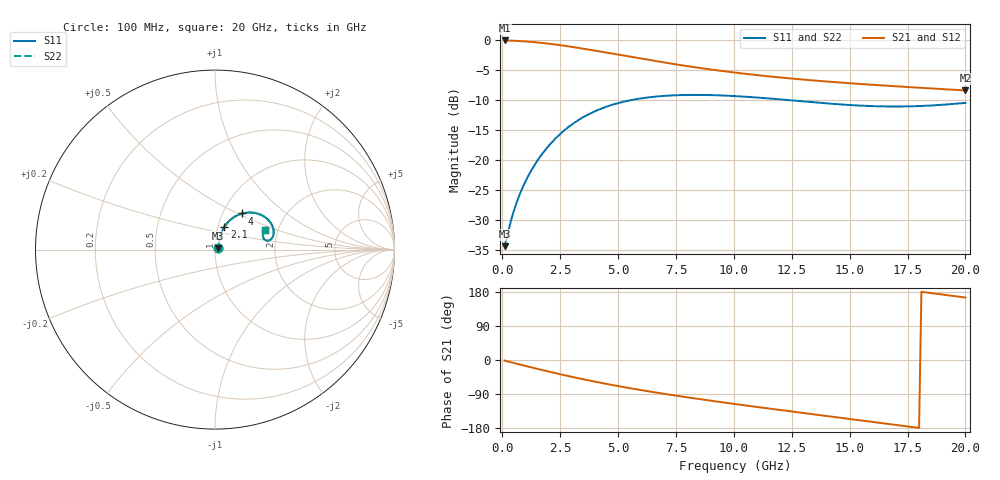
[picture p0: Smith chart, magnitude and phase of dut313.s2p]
! Touchstone file exported from HFSS 2024.1.0
!  File:  C:/UserFiles/LocalFiles/RDL_TSV_Batchsim/temp_RDL_TSV_313_1779627819.aedt
!  Generated:  09:19:21 PM May 24, 2026
!  Design:  RDL_TSV
!  Project:  temp_RDL_TSV_313_1779627819
!  Setup:  Setup1
!  Solution:  Sweep
! Variables:
!  dtsv = 6.16um
!  hbump = 3um
!  htsv = 68.67um
!  ldown = 589.07um
!  lrdl = 286.14um
!  p = 40
!  p1 = 47.07um
!  rhole = 10um
!  subl = 2911.77um
!  t = 450um
!  tdown = 4.51um
!  trdl = 2.69um
!  viad = 10um
!  wdown = 13.75um
!  wrdl = 24.38um
!  xbump = 18um
# GHz S MA R 50.000000
! Terminal data exported
! Port[1] = TM1_1_T1
! Port[2] = TM1_4_T1
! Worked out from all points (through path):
!   200 points, 100 MHz to 20 GHz, reference 50 ohm
!   highest |S21| = -0.16 dB at 100 MHz (marker M1); lowest = -8.5 dB at 20 GHz (marker M2)
!   group delay of S21, straight-line fit = 25.5 ps
!   lowest |S11| = -34.4 dB at 100 MHz (marker M3), VSWR 1.04, Z = 51.8 + j0.692 ohm
!   |S11| at or under -10 dB: start of sweep to 5.691 GHz; 12.1 GHz to end of sweep
!   |S22| runs from -34.4 to -9.2 dB; largest |S21 - S12| = 1e-14
!   S11 on the Smith chart (normalised r, x): 100 MHz: 1.04, +0.01; 2.1 GHz: 1.07, +0.28; 4 GHz: 1.23, +0.53; 20 GHz: 1.71, +0.40
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0.1  0.01902 20.6  0.9821 -1.6  0.9821 -1.6  0.01902 20.6
! Gamma 0 0 0 0
! Port Impedance 50 0 50 0
0.3  0.02728 44.9  0.9798 -4.8  0.9798 -4.8  0.02728 44.9
0.5  0.03749 55.8  0.9764 -7.9  0.9764 -7.9  0.03749 55.8
0.7  0.04836 61.7  0.9722 -11.1  0.9722 -11.1  0.04836 61.7
0.9  0.05981 65.3  0.967 -14.1  0.967 -14.1  0.0598 65.3
1.4  0.09055 68.8  0.9502 -21.7  0.9502 -21.7  0.09054 68.8
1.7  0.1101 68.9  0.9376 -26.2  0.9376 -26.2  0.1101 68.9
2.1  0.1368 67.6  0.9185 -32.0  0.9185 -32.0  0.1367 67.6
2.8  0.1831 63.1  0.8804 -41.7  0.8804 -41.7  0.183 63.1
3.5  0.2258 57.3  0.8388 -50.9  0.8388 -50.9  0.2257 57.3
4  0.2526 52.8  0.8083 -57.1  0.8083 -57.1  0.2525 52.8
5.2  0.302 42.5  0.7367 -71.0  0.7367 -71.0  0.3019 42.5
6  0.3235 36.2  0.6926 -79.5  0.6926 -79.5  0.3234 36.3
6.8  0.3371 30.7  0.6524 -87.5  0.6524 -87.5  0.337 30.7
8.4  0.3459 21.6  0.5845 -102.2  0.5845 -102.2  0.3459 21.6
10.1  0.3376 14.7  0.529 -116.6  0.529 -116.6  0.3376 14.8
11.7  0.321 10.9  0.4893 -129.5  0.4893 -129.5  0.321 11.0
13.4  0.3007 9.5  0.4567 -143.0  0.4567 -143.0  0.3008 9.6
15  0.2848 10.7  0.4325 -155.6  0.4325 -155.6  0.2849 10.8
16.7  0.2768 14.1  0.4112 -169.0  0.4112 -169.0  0.277 14.1
18.3  0.2808 17.9  0.3937 178.3  0.3937 178.3  0.281 17.9
20  0.2966 21.1  0.3766 164.8  0.3766 164.8  0.2969 21.2
